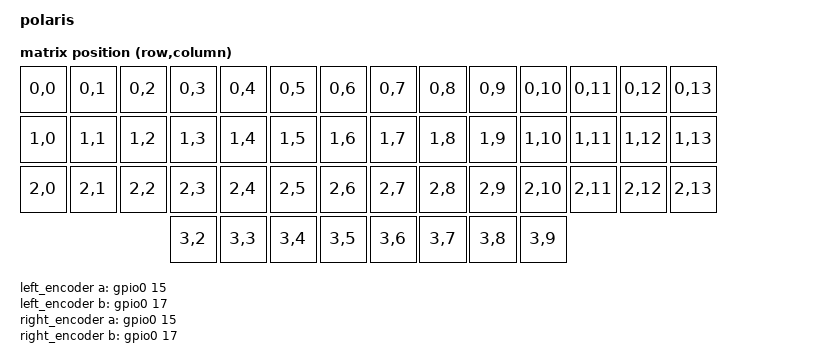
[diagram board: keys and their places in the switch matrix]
/*
 * Copyright (c) 2020 The ZMK Contributors
 *
 * SPDX-License-Identifier: MIT
 */

/dts-v1/;
#include <nordic/nrf52840_qiaa.dtsi>
#include <dt-bindings/zmk/matrix_transform.h>
#include <physical_layouts.dtsi>

/ {
    model = "polaris";
    compatible = "lnatkvat,polaris";

    chosen {
        zephyr,code-partition = &code_partition;
        zephyr,sram = &sram0;
        zephyr,flash = &flash0;
    };

    default_transform: keymap_transform_0 {
        compatible = "zmk,matrix-transform";
        columns = <14>;
        rows = <4>;
        map = <
            RC(0,0) RC(0,1) RC(0,2) RC(0,3) RC(0,4) RC(0,5) RC(0,6)  RC(0,7) RC(0,8) RC(0,9) RC(0,10) RC(0,11) RC(0,12) RC(0,13) 
            RC(1,0) RC(1,1) RC(1,2) RC(1,3) RC(1,4) RC(1,5) RC(1,6)  RC(1,7) RC(1,8) RC(1,9) RC(1,10) RC(1,11) RC(1,12) RC(1,13) 
            RC(2,0) RC(2,1) RC(2,2) RC(2,3) RC(2,4) RC(2,5) RC(2,6)  RC(2,7) RC(2,8) RC(2,9) RC(2,10) RC(2,11) RC(2,12) RC(2,13) 
                                    RC(3,2) RC(3,3) RC(3,4) RC(3,5)  RC(3,6) RC(3,7) RC(3,8) RC(3,9) 
        >;
    };



 matrix_physical_layout: matrix_physical_layout {
 	 compatible = "zmk,physical-layout";
 	 display-name = "POLARIS, the ergo keyboard";
 	
	 transform = <&default_transform>;
keys  //                     w   h    x    y     rot   rx   ry
    = <&key_physical_attrs 100 100    0    0       0    0    0>
    , <&key_physical_attrs 100 100  100    0       0    0    0>
    , <&key_physical_attrs 100 100  200    0       0    0    0>
    , <&key_physical_attrs 100 100  300    0       0    0    0>
    , <&key_physical_attrs 100 100  400    0       0    0    0>
    , <&key_physical_attrs 100 100  500    0       0    0    0>
    , <&key_physical_attrs 100 100  600    0       0    0    0>
    , <&key_physical_attrs 100 100  700    0       0    0    0>
    , <&key_physical_attrs 100 100  800    0       0    0    0>
    , <&key_physical_attrs 100 100  900    0       0    0    0>
    , <&key_physical_attrs 100 100 1000    0       0    0    0>
    , <&key_physical_attrs 100 100 1100    0       0    0    0>
    , <&key_physical_attrs 100 100    0  100       0    0    0>
    , <&key_physical_attrs 100 100  100  100       0    0    0>
    , <&key_physical_attrs 100 100  200  100       0    0    0>
    , <&key_physical_attrs 100 100  300  100       0    0    0>
    , <&key_physical_attrs 100 100  400  100       0    0    0>
    , <&key_physical_attrs 100 100  500  100       0    0    0>
    , <&key_physical_attrs 100 100  600  100       0    0    0>
    , <&key_physical_attrs 100 100  700  100       0    0    0>
    , <&key_physical_attrs 100 100  800  100       0    0    0>
    , <&key_physical_attrs 100 100  900  100       0    0    0>
    , <&key_physical_attrs 100 100 1000  100       0    0    0>
    , <&key_physical_attrs 100 100 1100  100       0    0    0>
    , <&key_physical_attrs 100 100    0  200       0    0    0>
    , <&key_physical_attrs 100 100  100  200       0    0    0>
    , <&key_physical_attrs 100 100  200  200       0    0    0>
    , <&key_physical_attrs 100 100  300  200       0    0    0>
    , <&key_physical_attrs 100 100  400  200       0    0    0>
    , <&key_physical_attrs 100 100  500  200       0    0    0>
    , <&key_physical_attrs 100 100  600  200       0    0    0>
    , <&key_physical_attrs 100 100  600  300       0    0    0>
    , <&key_physical_attrs 100 100  700  200       0    0    0>
    , <&key_physical_attrs 100 100  800  200       0    0    0>
    , <&key_physical_attrs 100 100  900  200       0    0    0>
    , <&key_physical_attrs 100 100 1000  200       0    0    0>
    , <&key_physical_attrs 100 100 1100  200       0    0    0>
    , <&key_physical_attrs 100 100  200  300       0    0    0>
    , <&key_physical_attrs 100 100  300  300       0    0    0>
    , <&key_physical_attrs 100 100  400  300       0    0    0>
    , <&key_physical_attrs 100 100  500  300       0    0    0>
    , <&key_physical_attrs 100 100  700  300       0    0    0>
    , <&key_physical_attrs 100 100  800  300       0    0    0>
    , <&key_physical_attrs 100 100  900  300       0    0    0>
    ;
  };

left_encoder: encoder_left {
        compatible = "alps,ec11";
        a-gpios = <&gpio0 15 (GPIO_ACTIVE_HIGH | GPIO_PULL_UP)>;
        b-gpios = <&gpio0 17 (GPIO_ACTIVE_HIGH | GPIO_PULL_UP)>;
        status = "disabled";
        steps = <30>;
 };

right_encoder: encoder_right {
        compatible = "alps,ec11";
        a-gpios = <&gpio0 15 (GPIO_ACTIVE_HIGH | GPIO_OPEN_DRAIN)>;
        b-gpios = <&gpio0 17 (GPIO_ACTIVE_HIGH | GPIO_OPEN_DRAIN)>;
        status = "disabled";
        steps = <30>;
 };
sensors: sensors {
        compatible = "zmk,keymap-sensors";
        sensors = <&left_encoder &right_encoder>;
        triggers-per-rotation = <15>;
    };
};

&adc {
    status = "okay";
};
&gpiote {
    status = "okay";
};

&gpio0 {
    status = "okay";
};

&gpio1 {
    status = "okay";
};

zephyr_udc0:&usbd {
		status = "okay";
};



&flash0 {
    /*
     * For more information, see:
     * http://docs.zephyrproject.org/latest/devices/dts/flash_partitions.html
     */
    partitions {
        compatible = "fixed-partitions";
        #address-cells = <1>;
        #size-cells = <1>;

        sd_partition: partition@0 {
            reg = <0x00000000 0x00026000>;
        };
        code_partition: partition@26000 {
            reg = <0x00026000 0x000c6000>;
        };

        /*
         * The flash starting at 0x000ec000 and ending at
         * 0x000f3fff is reserved for use by the application.
         */

        /*
         * Storage partition will be used by FCB/LittleFS/NVS
         * if enabled.
         */
        storage_partition: partition@ec000 {
            reg = <0x000ec000 0x00008000>;
        };

        boot_partition: partition@f4000 {
            reg = <0x000f4000 0x0000c000>;
        };
    };
};
